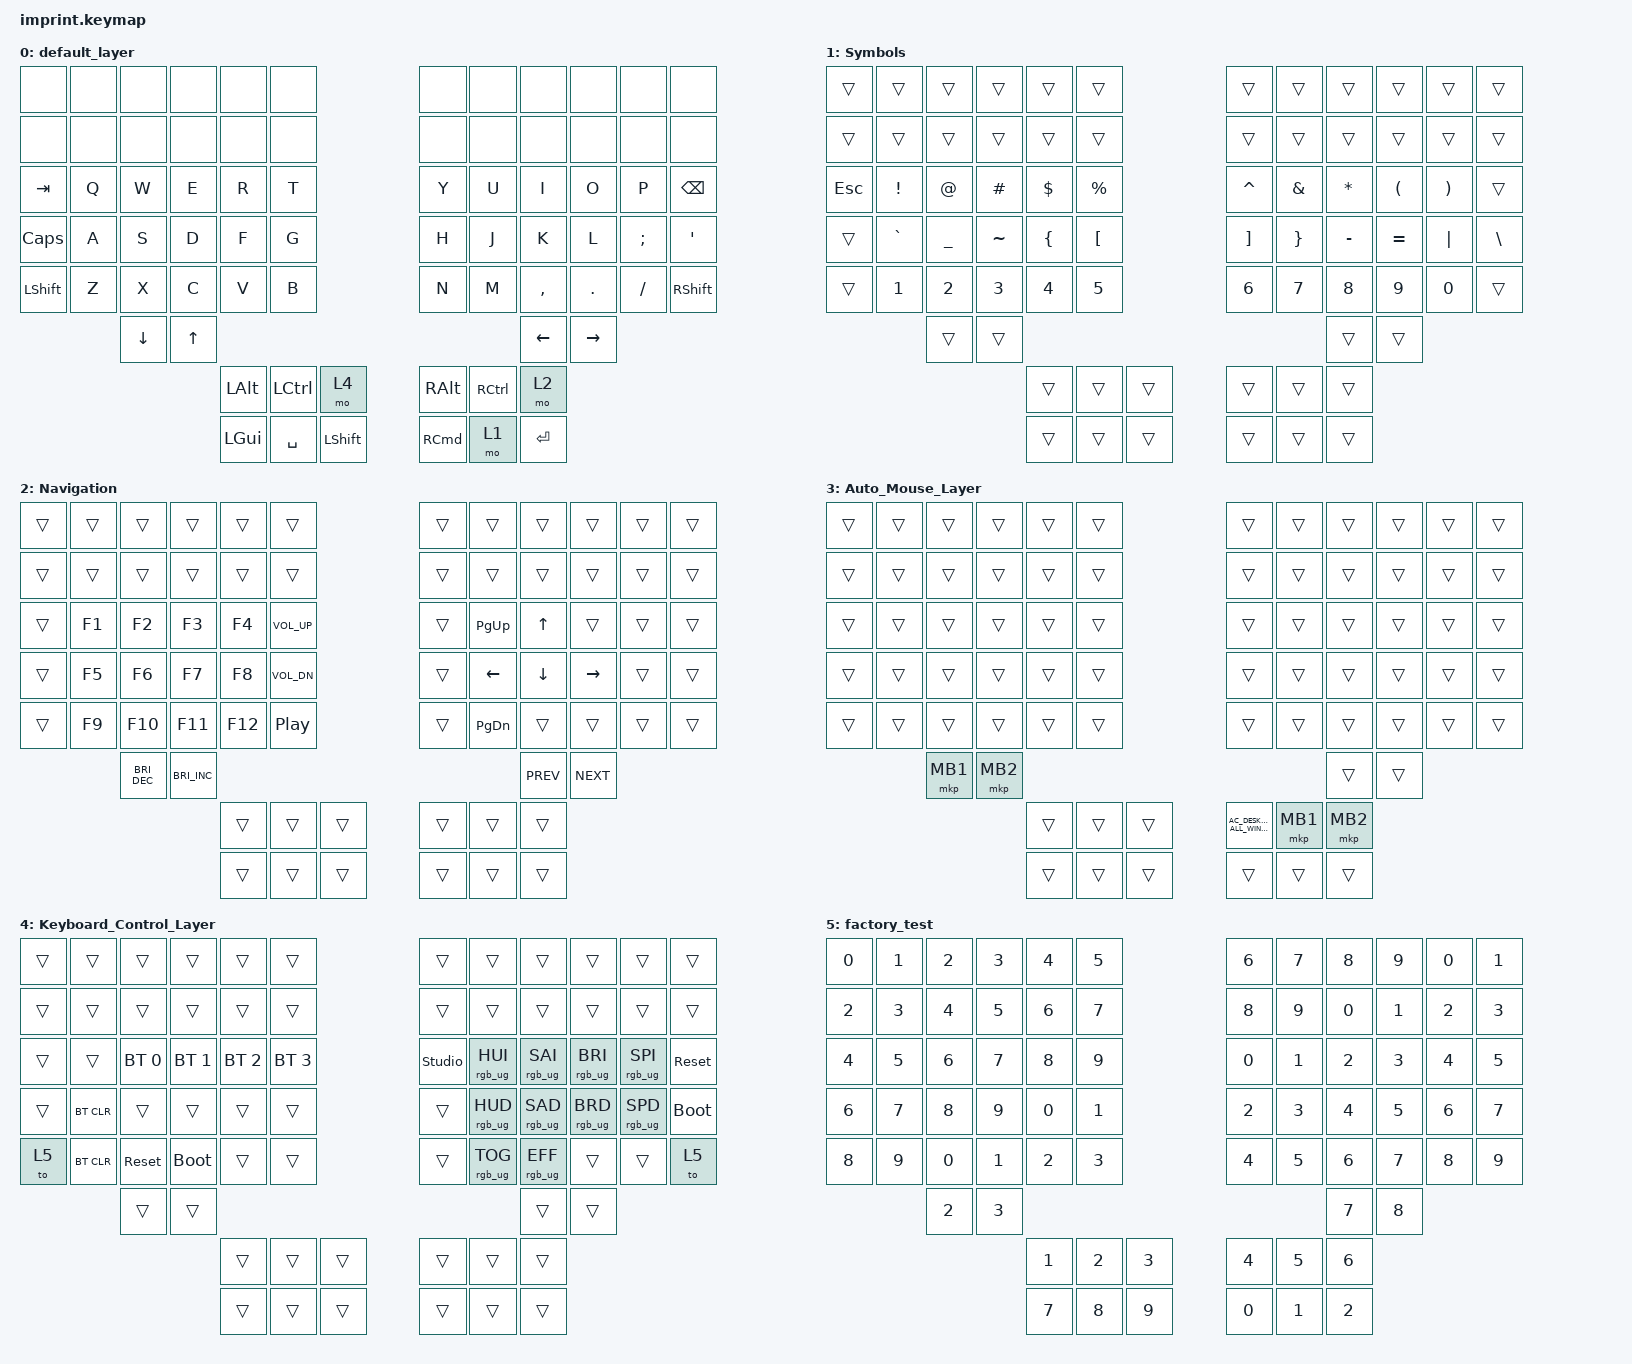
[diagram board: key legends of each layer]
#include <input/processors.dtsi>
#include <dt-bindings/zmk/input_transform.h>
#include <behaviors.dtsi>
#include <dt-bindings/zmk/bt.h>
#include <dt-bindings/zmk/keys.h>
#include <dt-bindings/zmk/pointing.h>
#include <dt-bindings/zmk/rgb.h>

/ {
    chosen { zmk,matrix-transform = &imprint_function_row; };

    keymap {
        compatible = "zmk,keymap";

        default_layer {
            bindings = <
&none         &none  &none     &none         &none     &none                        &none     &none      &none           &none      &none     &none
&none         &none  &none     &none         &none     &none                        &none     &none      &none           &none      &none     &none
&kp TAB       &kp Q  &kp W     &kp E         &kp R     &kp T                        &kp Y     &kp U      &kp I           &kp O      &kp P     &kp BACKSPACE
&kp CAPSLOCK  &kp A  &kp S     &kp D         &kp F     &kp G                        &kp H     &kp J      &kp K           &kp L      &kp SEMI  &kp SQT
&kp LSHIFT    &kp Z  &kp X     &kp C         &kp V     &kp B                        &kp N     &kp M      &kp COMMA       &kp DOT    &kp FSLH  &kp RSHFT
                     &kp DOWN  &kp UP_ARROW                                                              &kp LEFT_ARROW  &kp RIGHT
                                             &kp LALT  &kp LCTRL  &mo 4             &kp RALT  &kp RCTRL  &mo 2
                                             &kp LGUI  &kp SPACE  &kp LEFT_SHIFT    &kp RCMD  &mo 1      &kp RETURN
            >;
        };

        Symbols {
            bindings = <
&trans      &trans     &trans          &trans     &trans          &trans                      &trans             &trans           &trans        &trans                &trans                 &trans
&trans      &trans     &trans          &trans     &trans          &trans                      &trans             &trans           &trans        &trans                &trans                 &trans
&kp ESCAPE  &kp EXCL   &kp AT          &kp HASH   &kp DOLLAR      &kp PERCENT                 &kp CARET          &kp AMPERSAND    &kp ASTERISK  &kp LEFT_PARENTHESIS  &kp RIGHT_PARENTHESIS  &trans
&trans      &kp GRAVE  &kp UNDERSCORE  &kp TILDE  &kp LEFT_BRACE  &kp LEFT_BRACKET            &kp RIGHT_BRACKET  &kp RIGHT_BRACE  &kp MINUS     &kp EQUAL             &kp PIPE               &kp BSLH
&trans      &kp N1     &kp N2          &kp N3     &kp N4          &kp N5                      &kp N6             &kp N7           &kp N8        &kp N9                &kp N0                 &trans
                       &trans          &trans                                                                                     &trans        &trans
                                                  &trans          &trans            &trans    &trans             &trans           &trans
                                                  &trans          &trans            &trans    &trans             &trans           &trans
            >;
        };

        Navigation {
            bindings = <
&trans  &trans  &trans         &trans         &trans   &trans                      &trans  &trans          &trans        &trans      &trans  &trans
&trans  &trans  &trans         &trans         &trans   &trans                      &trans  &trans          &trans        &trans      &trans  &trans
&trans  &kp F1  &kp F2         &kp F3         &kp F4   &kp C_VOLUME_UP             &trans  &kp PAGE_UP     &kp UP_ARROW  &trans      &trans  &trans
&trans  &kp F5  &kp F6         &kp F7         &kp F8   &kp C_VOL_DN                &trans  &kp LEFT_ARROW  &kp DOWN      &kp RIGHT   &trans  &trans
&trans  &kp F9  &kp F10        &kp F11        &kp F12  &kp C_PLAY_PAUSE            &trans  &kp PAGE_DOWN   &trans        &trans      &trans  &trans
                &kp C_BRI_DEC  &kp C_BRI_INC                                                               &kp C_PREV    &kp C_NEXT
                                              &trans   &trans            &trans    &trans  &trans          &trans
                                              &trans   &trans            &trans    &trans  &trans          &trans
            >;
        };

        Auto_Mouse_Layer {
            bindings = <
&trans  &trans  &trans    &trans    &trans  &trans            &trans                             &trans    &trans    &trans  &trans  &trans
&trans  &trans  &trans    &trans    &trans  &trans            &trans                             &trans    &trans    &trans  &trans  &trans
&trans  &trans  &trans    &trans    &trans  &trans            &trans                             &trans    &trans    &trans  &trans  &trans
&trans  &trans  &trans    &trans    &trans  &trans            &trans                             &trans    &trans    &trans  &trans  &trans
&trans  &trans  &trans    &trans    &trans  &trans            &trans                             &trans    &trans    &trans  &trans  &trans
                &mkp MB1  &mkp MB2                                                                         &trans    &trans
                                    &trans  &trans  &trans    &kp C_AC_DESKTOP_SHOW_ALL_WINDOWS  &mkp MB1  &mkp MB2
                                    &trans  &trans  &trans    &trans                             &trans    &trans
            >;
        };

        Keyboard_Control_Layer {
            bindings = <
&trans  &trans      &trans        &trans        &trans        &trans                  &trans          &trans           &trans           &trans           &trans           &trans
&trans  &trans      &trans        &trans        &trans        &trans                  &trans          &trans           &trans           &trans           &trans           &trans
&trans  &trans      &bt BT_SEL 0  &bt BT_SEL 1  &bt BT_SEL 2  &bt BT_SEL 3            &studio_unlock  &rgb_ug RGB_HUI  &rgb_ug RGB_SAI  &rgb_ug RGB_BRI  &rgb_ug RGB_SPI  &sys_reset
&trans  &bt BT_CLR  &trans        &trans        &trans        &trans                  &trans          &rgb_ug RGB_HUD  &rgb_ug RGB_SAD  &rgb_ug RGB_BRD  &rgb_ug RGB_SPD  &bootloader
&to 5   &bt BT_CLR  &sys_reset    &bootloader   &trans        &trans                  &trans          &rgb_ug RGB_TOG  &rgb_ug RGB_EFF  &trans           &trans           &to 5
                    &trans        &trans                                                                               &trans           &trans
                                                &trans        &trans        &trans    &trans          &trans           &trans
                                                &trans        &trans        &trans    &trans          &trans           &trans
            >;
        };

        factory_test {
            bindings = <
&kp N0  &kp N1  &kp N2  &kp N3  &kp N4  &kp N5            &kp N6  &kp N7  &kp N8  &kp N9  &kp N0  &kp N1
&kp N2  &kp N3  &kp N4  &kp N5  &kp N6  &kp N7            &kp N8  &kp N9  &kp N0  &kp N1  &kp N2  &kp N3
&kp N4  &kp N5  &kp N6  &kp N7  &kp N8  &kp N9            &kp N0  &kp N1  &kp N2  &kp N3  &kp N4  &kp N5
&kp N6  &kp N7  &kp N8  &kp N9  &kp N0  &kp N1            &kp N2  &kp N3  &kp N4  &kp N5  &kp N6  &kp N7
&kp N8  &kp N9  &kp N0  &kp N1  &kp N2  &kp N3            &kp N4  &kp N5  &kp N6  &kp N7  &kp N8  &kp N9
                &kp N2  &kp N3                                            &kp N7  &kp N8
                                &kp N1  &kp N2  &kp N3    &kp N4  &kp N5  &kp N6
                                &kp N7  &kp N8  &kp N9    &kp N0  &kp N1  &kp N2
            >;
        };
    };
};

// right hand trackball configuration

&trackball_peripheral_listener {
    input-processors =
        // activate layer 3 within 500ms of the trackball moving,,,,,,,,,,,,,,,,,,,,
        <&zip_temp_layer 3 500>;
};

//left hand trackball configuration

&trackball_central_listener {
    input-processors =
        // multiply sensitivity by 1, divide by 10 (make it slower for scrolling),,,,,,,,,,,,,,,,,,,,,,
        <&zip_xy_scaler 1 10>,
        // make this trackball output scrolling events by default instead of cursor movement,,,,,,,,,,,,,,,,,,,,,,
        <&zip_xy_to_scroll_mapper>,
        // invert vertical scrolling so that the view moves in the same direction as the top of the trackball.,,,,,,,,,,,,,,,,,,,,,,
        <&zip_scroll_transform INPUT_TRANSFORM_Y_INVERT>;
};
